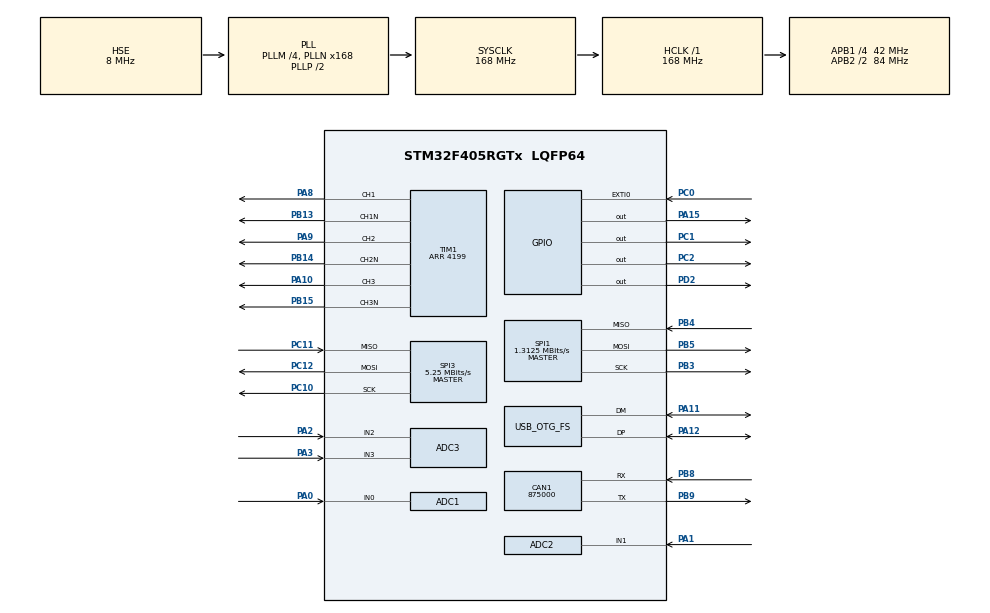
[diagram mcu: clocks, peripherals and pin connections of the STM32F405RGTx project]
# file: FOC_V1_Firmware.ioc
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ADC1.Channel-0\#ChannelRegularConversion=ADC_CHANNEL_0
ADC1.Channel-1\#ChannelInjectedConversion=ADC_CHANNEL_0
ADC1.ExternalTrigInjecConv=ADC_EXTERNALTRIGINJECCONV_T1_TRGO
ADC1.InjNumberOfConversion=1
ADC1.InjectedOffset-1\#ChannelInjectedConversion=0
ADC1.InjectedRank-1\#ChannelInjectedConversion=1
ADC1.NbrOfConversionFlag=1
ADC1.Rank-0\#ChannelRegularConversion=1
ADC1.SamplingTime-0\#ChannelRegularConversion=ADC_SAMPLETIME_3CYCLES
ADC1.SamplingTime-1\#ChannelInjectedConversion=ADC_SAMPLETIME_15CYCLES
ADC1.ScanConvMode=ENABLE
ADC1.master=1
ADC2.Channel-0\#ChannelRegularConversion=ADC_CHANNEL_1
ADC2.Channel-1\#ChannelInjectedConversion=ADC_CHANNEL_1
ADC2.ExternalTrigInjecConv=ADC_EXTERNALTRIGINJECCONV_T1_TRGO
ADC2.InjNumberOfConversion=1
ADC2.InjectedOffset-1\#ChannelInjectedConversion=0
ADC2.InjectedRank-1\#ChannelInjectedConversion=1
ADC2.NbrOfConversionFlag=1
ADC2.Rank-0\#ChannelRegularConversion=1
ADC2.SamplingTime-0\#ChannelRegularConversion=ADC_SAMPLETIME_3CYCLES
ADC2.SamplingTime-1\#ChannelInjectedConversion=ADC_SAMPLETIME_15CYCLES
ADC2.ScanConvMode=ENABLE
ADC3.Channel-0\#ChannelRegularConversion=ADC_CHANNEL_2
ADC3.Channel-1\#ChannelRegularConversion=ADC_CHANNEL_3
ADC3.ContinuousConvMode=ENABLE
ADC3.NbrOfConversion=2
ADC3.NbrOfConversionFlag=1
ADC3.Rank-0\#ChannelRegularConversion=1
ADC3.Rank-1\#ChannelRegularConversion=2
ADC3.SamplingTime-0\#ChannelRegularConversion=ADC_SAMPLETIME_84CYCLES
ADC3.SamplingTime-1\#ChannelRegularConversion=ADC_SAMPLETIME_84CYCLES
ADC3.ScanConvMode=ENABLE
CAN1.CalculateBaudRate=875000
CAN1.CalculateTimeBit=1142
CAN1.CalculateTimeQuantum=380.95238095238096
Dma.Request0=SPI3_RX
Dma.Request1=SPI3_TX
Dma.SPI3_RX.0.Direction=DMA_PERIPH_TO_MEMORY
Dma.SPI3_RX.0.FIFOMode=DMA_FIFOMODE_DISABLE
Dma.SPI3_RX.0.Instance=DMA1_Stream0
Dma.SPI3_RX.0.MemDataAlignment=DMA_MDATAALIGN_HALFWORD
Dma.SPI3_RX.0.MemInc=DMA_MINC_ENABLE
Dma.SPI3_RX.0.Mode=DMA_NORMAL
Dma.SPI3_RX.0.PeriphDataAlignment=DMA_PDATAALIGN_HALFWORD
Dma.SPI3_RX.0.PeriphInc=DMA_PINC_DISABLE
Dma.SPI3_RX.0.Priority=DMA_PRIORITY_LOW
Dma.SPI3_TX.1.Direction=DMA_MEMORY_TO_PERIPH
Dma.SPI3_TX.1.FIFOMode=DMA_FIFOMODE_DISABLE
Dma.SPI3_TX.1.Instance=DMA1_Stream5
Dma.SPI3_TX.1.MemDataAlignment=DMA_MDATAALIGN_HALFWORD
Dma.SPI3_TX.1.MemInc=DMA_MINC_ENABLE
Dma.SPI3_TX.1.Mode=DMA_NORMAL
Dma.SPI3_TX.1.PeriphDataAlignment=DMA_PDATAALIGN_HALFWORD
Dma.SPI3_TX.1.PeriphInc=DMA_PINC_DISABLE
Dma.SPI3_TX.1.Priority=DMA_PRIORITY_LOW
FREERTOS.Tasks01=StateTask,24,128,StartStateTask,Default,NULL,Dynamic,NULL,NULL;TelemetryTask,24,512,StartTelemetryTask,Default,NULL,Dynamic,NULL,NULL
FREERTOS.configUSE_NEWLIB_REENTRANT=1
Mcu.Family=STM32F4
Mcu.Name=STM32F405RGTx
Mcu.Package=LQFP64
NVIC.ADC_IRQn=true\:0\:0\:true\:false\:true\:false\:true\:true\:true
NVIC.DMA1_Stream0_IRQn=true\:5\:0\:false\:false\:true\:true\:false\:true\:true
NVIC.DMA1_Stream5_IRQn=true\:5\:0\:false\:false\:true\:true\:false\:true\:true
NVIC.EXTI0_IRQn=true\:1\:0\:true\:false\:true\:false\:true\:true\:true
NVIC.OTG_FS_IRQn=true\:5\:0\:false\:false\:true\:true\:false\:true\:true
NVIC.PriorityGroup=NVIC_PRIORITYGROUP_4
NVIC.TIM6_DAC_IRQn=true\:15\:0\:false\:false\:true\:false\:false\:true\:true
NVIC.TimeBase=TIM6_DAC_IRQn
NVIC.TimeBaseIP=TIM6
PA0-WKUP.Signal=ADCx_IN0
PA1.Signal=ADCx_IN1
PA10.Signal=S_TIM1_CH3
PA11.Mode=Device_Only
PA11.Signal=USB_OTG_FS_DM
PA12.Mode=Device_Only
PA12.Signal=USB_OTG_FS_DP
PA15.PinState=GPIO_PIN_SET
PA15.Signal=GPIO_Output
PA2.Signal=ADCx_IN2
PA3.Signal=ADCx_IN3
PA8.Signal=S_TIM1_CH1
PA9.Signal=S_TIM1_CH2
PB13.Mode=PWM Generation1 CH1 CH1N
PB13.Signal=TIM1_CH1N
PB14.Mode=PWM Generation2 CH2 CH2N
PB14.Signal=TIM1_CH2N
PB15.Mode=PWM Generation3 CH3 CH3N
PB15.Signal=TIM1_CH3N
PB3.Mode=Full_Duplex_Master
PB3.Signal=SPI1_SCK
PB4.Mode=Full_Duplex_Master
PB4.Signal=SPI1_MISO
PB5.Mode=Full_Duplex_Master
PB5.Signal=SPI1_MOSI
PB8.Mode=CAN_Activate
PB8.Signal=CAN1_RX
PB9.Mode=CAN_Activate
PB9.Signal=CAN1_TX
PC0.GPIO_ModeDefaultEXTI=GPIO_MODE_IT_FALLING
PC0.GPIO_PuPd=GPIO_PULLUP
PC0.Signal=GPXTI0
PC1.Signal=GPIO_Output
PC10.Mode=Full_Duplex_Master
PC10.Signal=SPI3_SCK
PC11.Mode=Full_Duplex_Master
PC11.Signal=SPI3_MISO
PC12.Mode=Full_Duplex_Master
PC12.Signal=SPI3_MOSI
PC2.Signal=GPIO_Output
PD2.PinState=GPIO_PIN_SET
PD2.Signal=GPIO_Output
PH0-OSC_IN.Mode=HSE-External-Oscillator
PH0-OSC_IN.Signal=RCC_OSC_IN
PH1-OSC_OUT.Mode=HSE-External-Oscillator
PH1-OSC_OUT.Signal=RCC_OSC_OUT
ProjectManager.HeapSize=0x200
ProjectManager.StackSize=0x400
ProjectManager.TargetToolchain=STM32CubeIDE
RCC.48MHZClocksFreq_Value=48000000
RCC.AHBFreq_Value=168000000
RCC.APB1CLKDivider=RCC_HCLK_DIV4
RCC.APB1Freq_Value=42000000
RCC.APB1TimFreq_Value=84000000
RCC.APB2CLKDivider=RCC_HCLK_DIV2
RCC.APB2Freq_Value=84000000
RCC.APB2TimFreq_Value=168000000
RCC.CortexFreq_Value=168000000
RCC.HCLKFreq_Value=168000000
RCC.HSE_VALUE=8000000
RCC.HSI_VALUE=16000000
RCC.LSE_VALUE=32768
RCC.PLLM=4
RCC.PLLN=168
RCC.PLLQ=7
RCC.SYSCLKFreq_VALUE=168000000
RCC.SYSCLKSource=RCC_SYSCLKSOURCE_PLLCLK
RCC.VCOOutputFreq_Value=336000000
SH.ADCx_IN0.0=ADC1_IN0,IN0
SH.ADCx_IN1.0=ADC2_IN1,IN1
SH.ADCx_IN2.0=ADC3_IN2,IN2
SH.ADCx_IN3.0=ADC3_IN3,IN3
SH.S_TIM1_CH1.0=TIM1_CH1,PWM Generation1 CH1 CH1N
SH.S_TIM1_CH2.0=TIM1_CH2,PWM Generation2 CH2 CH2N
SH.S_TIM1_CH3.0=TIM1_CH3,PWM Generation3 CH3 CH3N
SPI1.BaudRatePrescaler=SPI_BAUDRATEPRESCALER_64
SPI1.CLKPhase=SPI_PHASE_2EDGE
SPI1.CalculateBaudRate=1.3125 MBits/s
SPI1.DataSize=SPI_DATASIZE_16BIT
SPI1.Direction=SPI_DIRECTION_2LINES
SPI1.Mode=SPI_MODE_MASTER
SPI1.VirtualType=VM_MASTER
SPI3.BaudRatePrescaler=SPI_BAUDRATEPRESCALER_8
SPI3.CLKPhase=SPI_PHASE_2EDGE
SPI3.CalculateBaudRate=5.25 MBits/s
SPI3.DataSize=SPI_DATASIZE_16BIT
SPI3.Direction=SPI_DIRECTION_2LINES
SPI3.FirstBit=SPI_FIRSTBIT_MSB
SPI3.Mode=SPI_MODE_MASTER
SPI3.VirtualType=VM_MASTER
TIM1.Channel-PWM\ Generation1\ CH1\ CH1N=TIM_CHANNEL_1
TIM1.Channel-PWM\ Generation2\ CH2\ CH2N=TIM_CHANNEL_2
TIM1.Channel-PWM\ Generation3\ CH3\ CH3N=TIM_CHANNEL_3
TIM1.CounterMode=TIM_COUNTERMODE_CENTERALIGNED1
TIM1.DeadTime=40
TIM1.Period=4199
TIM1.RepetitionCounter=1
TIM1.TIM_MasterOutputTrigger=TIM_TRGO_UPDATE
TIM1.TIM_MasterSlaveMode=TIM_MASTERSLAVEMODE_ENABLE
USB_DEVICE.CLASS_NAME_FS=CDC
USB_DEVICE.VirtualMode-CDC_FS=Cdc
USB_DEVICE.VirtualModeFS=Cdc_FS
USB_OTG_FS.VirtualMode=Device_Only
VP_FREERTOS_VS_CMSIS_V2.Mode=CMSIS_V2
VP_SYS_VS_tim6.Mode=TIM6
VP_TIM1_VS_ClockSourceINT.Mode=Internal
VP_USB_DEVICE_VS_USB_DEVICE_CDC_FS.Mode=CDC_FS
board=custom

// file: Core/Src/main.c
/* USER CODE BEGIN Header */
/**
  ******************************************************************************
  * @file           : main.c
  * @brief          : Main program body
  ******************************************************************************
  */
/* USER CODE END Header */
#include "main.h"
#include "cmsis_os.h"
#include "usb_device.h"

/* USER CODE BEGIN Includes */
#include "usbd_cdc_if.h"
#include <stdio.h>
#include <math.h>
/* USER CODE END Includes */

ADC_HandleTypeDef hadc1;
ADC_HandleTypeDef hadc2;
ADC_HandleTypeDef hadc3;

CAN_HandleTypeDef hcan1;

SPI_HandleTypeDef hspi1;
SPI_HandleTypeDef hspi3;
DMA_HandleTypeDef hdma_spi3_rx;
DMA_HandleTypeDef hdma_spi3_tx;

TIM_HandleTypeDef htim1;

/* Definitions for StateTask */
osThreadId_t StateTaskHandle;
const osThreadAttr_t StateTask_attributes = {
  .name = "StateTask",
  .stack_size = 128 * 4,
  .priority = (osPriority_t) osPriorityHigh,
};
/* Definitions for TelemetryTask */
osThreadId_t TelemetryTaskHandle;
const osThreadAttr_t TelemetryTask_attributes = {
  .name = "TelemetryTask",
  .stack_size = 512 * 4,
  .priority = (osPriority_t) osPriorityNormal,
};

/* USER CODE BEGIN PV */
uint16_t as5048a_tx_buffer = 0xFFFF;
uint16_t as5048a_rx_buffer = 0x0000;
volatile uint8_t start_motor = 0;
// ADC
volatile uint16_t raw_adc_a, raw_adc_c;
volatile float offset_a = 2048.0f;
volatile float offset_c = 2048.0f;
// Global FOC variables for telemetry
volatile float global_theta_elec = 0.0f;
volatile float i_a, i_b, i_c;
volatile float i_d, i_q;
volatile float v_d, v_q;
// Current PI Controller states
volatile float integral_d = 0.0f;
volatile float integral_q = 0.0f;
volatile float target_id = 0.0f;
volatile float target_iq = 0.0f;
// Velocity PI Controller states
volatile float current_vel_rads = 0.0f;
volatile float target_vel_rads = 10.0f; // target 10 rad/s (~95rpm) for testing
volatile float prev_theta_mech = 0.0f;
volatile float vel_integral = 0.0f;
// Timing constant (168MHz clock and 4199 timer period -> 168Mhz/(2*4200) = 20kHz PWM)
const float DT = 0.00005f;
// Motor constants
const float POLE_PAIRS = 20.0f; // Eaglepower 90kv motor
const float PI_CONST = 3.14159265359f;
volatile float mech_offset = 0.0f; // set it to zero-angle calibration
/* USER CODE END PV */

void SystemClock_Config(void);
static void MX_GPIO_Init(void);
static void MX_DMA_Init(void);
static void MX_ADC1_Init(void);
static void MX_ADC2_Init(void);
static void MX_ADC3_Init(void);
static void MX_TIM1_Init(void);
static void MX_SPI1_Init(void);
static void MX_SPI3_Init(void);
static void MX_CAN1_Init(void);
void StartStateTask(void *argument);
void StartTelemetryTask(void *argument);

/* USER CODE BEGIN 0 */

// Wrap angle helper function
static inline float wrap_angle(float angle) {
	while (angle > PI_CONST) {
		angle -= (2.0f * PI_CONST);
	}
	while (angle < -PI_CONST) {
		angle += (2.0f * PI_CONST);
	}
	return angle;
}

// fast sin & cos function
static inline float fast_sin(float x) {
	x = wrap_angle(x);
	float sin_x;
	if (x < 0.0f) {
		sin_x = 1.27323954f * x + 0.405284735f * x * x;
		if (sin_x < 0.0f) {
			sin_x = 0.225f * (sin_x * -sin_x - sin_x) + sin_x;
		} else {
			sin_x = 0.225f * (sin_x * sin_x - sin_x) + sin_x;
		}
	} else {
		sin_x = 1.27323954f * x - 0.405284735f * x * x;
		if (sin_x < 0.0f) {
			sin_x = 0.225f * (sin_x * -sin_x - sin_x) + sin_x;
		} else {
			sin_x = 0.225f * (sin_x * sin_x - sin_x) + sin_x;
		}
	}
	return sin_x;
}
static inline float fast_cos(float x) {
	return fast_sin(x + 1.570796327f); // sin(x + pi/2)
}

// Fast Inverse Square Root for clamping v_d & v_q (calculates 1/sqrt(x))
static inline float fast_inv_sqrt(float number) {
  union {
    float f;
    uint32_t i;
  } conv;

  float x2;
  const float threehalfs = 1.5F;

  x2 = number * 0.5F;
  conv.f = number;
  conv.i = 0x5f3759df - (conv.i >> 1);
  conv.f = conv.f * (threehalfs - (x2 * conv.f * conv.f));
  return conv.f;
}
/* USER CODE END 0 */

int main(void)
{
  /* MCU Configuration--------------------------------------------------------*/
  HAL_Init();
  SystemClock_Config();

  /* Initialize all configured peripherals */
  MX_GPIO_Init();
  MX_DMA_Init();
  MX_ADC1_Init();
  MX_ADC2_Init();
  MX_ADC3_Init();
  MX_TIM1_Init();
  MX_SPI1_Init();
  MX_SPI3_Init();
  MX_CAN1_Init();

  /* Init scheduler */
  osKernelInitialize();

  /* Create the thread(s) */
  StateTaskHandle = osThreadNew(StartStateTask, NULL, &StateTask_attributes);
  TelemetryTaskHandle = osThreadNew(StartTelemetryTask, NULL, &TelemetryTask_attributes);

  /* Start scheduler */
  osKernelStart();

  /* Infinite loop */
  while (1)
  {
  }
}

void SystemClock_Config(void)
{
  RCC_OscInitTypeDef RCC_OscInitStruct = {0};
  RCC_ClkInitTypeDef RCC_ClkInitStruct = {0};

  __HAL_RCC_PWR_CLK_ENABLE();
  __HAL_PWR_VOLTAGESCALING_CONFIG(PWR_REGULATOR_VOLTAGE_SCALE1);

  RCC_OscInitStruct.OscillatorType = RCC_OSCILLATORTYPE_HSE;
  RCC_OscInitStruct.HSEState = RCC_HSE_ON;
  RCC_OscInitStruct.PLL.PLLState = RCC_PLL_ON;
  RCC_OscInitStruct.PLL.PLLSource = RCC_PLLSOURCE_HSE;
  RCC_OscInitStruct.PLL.PLLM = 4;
  RCC_OscInitStruct.PLL.PLLN = 168;
  RCC_OscInitStruct.PLL.PLLP = RCC_PLLP_DIV2;
  RCC_OscInitStruct.PLL.PLLQ = 7;
  if (HAL_RCC_OscConfig(&RCC_OscInitStruct) != HAL_OK)
  {
    Error_Handler();
  }

  RCC_ClkInitStruct.ClockType = RCC_CLOCKTYPE_HCLK|RCC_CLOCKTYPE_SYSCLK
                              |RCC_CLOCKTYPE_PCLK1|RCC_CLOCKTYPE_PCLK2;
  RCC_ClkInitStruct.SYSCLKSource = RCC_SYSCLKSOURCE_PLLCLK;
  RCC_ClkInitStruct.AHBCLKDivider = RCC_SYSCLK_DIV1;
  RCC_ClkInitStruct.APB1CLKDivider = RCC_HCLK_DIV4;
  RCC_ClkInitStruct.APB2CLKDivider = RCC_HCLK_DIV2;

  if (HAL_RCC_ClockConfig(&RCC_ClkInitStruct, FLASH_LATENCY_5) != HAL_OK)
  {
    Error_Handler();
  }
}

static void MX_ADC1_Init(void)
{
  ADC_ChannelConfTypeDef sConfig = {0};
  ADC_InjectionConfTypeDef sConfigInjected = {0};

  hadc1.Instance = ADC1;
  hadc1.Init.ClockPrescaler = ADC_CLOCK_SYNC_PCLK_DIV4;
  hadc1.Init.Resolution = ADC_RESOLUTION_12B;
  hadc1.Init.ScanConvMode = ENABLE;
  hadc1.Init.ContinuousConvMode = DISABLE;
  hadc1.Init.DiscontinuousConvMode = DISABLE;
  hadc1.Init.ExternalTrigConvEdge = ADC_EXTERNALTRIGCONVEDGE_NONE;
  hadc1.Init.ExternalTrigConv = ADC_SOFTWARE_START;
  hadc1.Init.DataAlign = ADC_DATAALIGN_RIGHT;
  hadc1.Init.NbrOfConversion = 1;
  hadc1.Init.DMAContinuousRequests = DISABLE;
  hadc1.Init.EOCSelection = ADC_EOC_SINGLE_CONV;
  if (HAL_ADC_Init(&hadc1) != HAL_OK)
  {
    Error_Handler();
  }

  sConfig.Channel = ADC_CHANNEL_0;
  sConfig.Rank = 1;
  sConfig.SamplingTime = ADC_SAMPLETIME_3CYCLES;
  if (HAL_ADC_ConfigChannel(&hadc1, &sConfig) != HAL_OK)
  {
    Error_Handler();
  }

  sConfigInjected.InjectedChannel = ADC_CHANNEL_0;
  sConfigInjected.InjectedRank = 1;
  sConfigInjected.InjectedNbrOfConversion = 1;
  sConfigInjected.InjectedSamplingTime = ADC_SAMPLETIME_15CYCLES;
  sConfigInjected.ExternalTrigInjecConvEdge = ADC_EXTERNALTRIGINJECCONVEDGE_RISING;
  sConfigInjected.ExternalTrigInjecConv = ADC_EXTERNALTRIGINJECCONV_T1_TRGO;
  sConfigInjected.AutoInjectedConv = DISABLE;
  sConfigInjected.InjectedDiscontinuousConvMode = DISABLE;
  sConfigInjected.InjectedOffset = 0;
  if (HAL_ADCEx_InjectedConfigChannel(&hadc1, &sConfigInjected) != HAL_OK)
  {
    Error_Handler();
  }
}

static void MX_ADC2_Init(void)
{
  ADC_ChannelConfTypeDef sConfig = {0};
  ADC_InjectionConfTypeDef sConfigInjected = {0};

  hadc2.Instance = ADC2;
  hadc2.Init.ClockPrescaler = ADC_CLOCK_SYNC_PCLK_DIV4;
  hadc2.Init.Resolution = ADC_RESOLUTION_12B;
  hadc2.Init.ScanConvMode = ENABLE;
  hadc2.Init.ContinuousConvMode = DISABLE;
  hadc2.Init.DiscontinuousConvMode = DISABLE;
  hadc2.Init.ExternalTrigConvEdge = ADC_EXTERNALTRIGCONVEDGE_NONE;
  hadc2.Init.ExternalTrigConv = ADC_SOFTWARE_START;
  hadc2.Init.DataAlign = ADC_DATAALIGN_RIGHT;
  hadc2.Init.NbrOfConversion = 1;
  hadc2.Init.DMAContinuousRequests = DISABLE;
  hadc2.Init.EOCSelection = ADC_EOC_SINGLE_CONV;
  if (HAL_ADC_Init(&hadc2) != HAL_OK)
  {
    Error_Handler();
  }

  sConfig.Channel = ADC_CHANNEL_1;
  sConfig.Rank = 1;
  sConfig.SamplingTime = ADC_SAMPLETIME_3CYCLES;
  if (HAL_ADC_ConfigChannel(&hadc2, &sConfig) != HAL_OK)
  {
    Error_Handler();
  }

  sConfigInjected.InjectedChannel = ADC_CHANNEL_1;
  sConfigInjected.InjectedRank = 1;
  sConfigInjected.InjectedNbrOfConversion = 1;
  sConfigInjected.InjectedSamplingTime = ADC_SAMPLETIME_15CYCLES;
  sConfigInjected.ExternalTrigInjecConvEdge = ADC_EXTERNALTRIGINJECCONVEDGE_RISING;
  sConfigInjected.ExternalTrigInjecConv = ADC_EXTERNALTRIGINJECCONV_T1_TRGO;
  sConfigInjected.AutoInjectedConv = DISABLE;
  sConfigInjected.InjectedDiscontinuousConvMode = DISABLE;
  sConfigInjected.InjectedOffset = 0;
  if (HAL_ADCEx_InjectedConfigChannel(&hadc2, &sConfigInjected) != HAL_OK)
  {
    Error_Handler();
  }
}

static void MX_ADC3_Init(void)
{
  ADC_ChannelConfTypeDef sConfig = {0};

  hadc3.Instance = ADC3;
  hadc3.Init.ClockPrescaler = ADC_CLOCK_SYNC_PCLK_DIV4;
  hadc3.Init.Resolution = ADC_RESOLUTION_12B;
  hadc3.Init.ScanConvMode = ENABLE;
  hadc3.Init.ContinuousConvMode = ENABLE;
  hadc3.Init.DiscontinuousConvMode = DISABLE;
  hadc3.Init.ExternalTrigConvEdge = ADC_EXTERNALTRIGCONVEDGE_NONE;
  hadc3.Init.ExternalTrigConv = ADC_SOFTWARE_START;
  hadc3.Init.DataAlign = ADC_DATAALIGN_RIGHT;
  hadc3.Init.NbrOfConversion = 2;
  hadc3.Init.DMAContinuousRequests = DISABLE;
  hadc3.Init.EOCSelection = ADC_EOC_SINGLE_CONV;
  if (HAL_ADC_Init(&hadc3) != HAL_OK)
  {
    Error_Handler();
  }

  sConfig.Channel = ADC_CHANNEL_2;
  sConfig.Rank = 1;
  sConfig.SamplingTime = ADC_SAMPLETIME_84CYCLES;
  if (HAL_ADC_ConfigChannel(&hadc3, &sConfig) != HAL_OK)
  {
    Error_Handler();
  }

  sConfig.Channel = ADC_CHANNEL_3;
  sConfig.Rank = 2;
  if (HAL_ADC_ConfigChannel(&hadc3, &sConfig) != HAL_OK)
  {
    Error_Handler();
  }
}

static void MX_CAN1_Init(void)
{
  hcan1.Instance = CAN1;
  hcan1.Init.Prescaler = 16;
  hcan1.Init.Mode = CAN_MODE_NORMAL;
  hcan1.Init.SyncJumpWidth = CAN_SJW_1TQ;
  hcan1.Init.TimeSeg1 = CAN_BS1_1TQ;
  hcan1.Init.TimeSeg2 = CAN_BS2_1TQ;
  hcan1.Init.TimeTriggeredMode = DISABLE;
  hcan1.Init.AutoBusOff = DISABLE;
  hcan1.Init.AutoWakeUp = DISABLE;
  hcan1.Init.AutoRetransmission = DISABLE;
  hcan1.Init.ReceiveFifoLocked = DISABLE;
  hcan1.Init.TransmitFifoPriority = DISABLE;
  if (HAL_CAN_Init(&hcan1) != HAL_OK)
  {
    Error_Handler();
  }
}

static void MX_SPI1_Init(void)
{
  hspi1.Instance = SPI1;
  hspi1.Init.Mode = SPI_MODE_MASTER;
  hspi1.Init.Direction = SPI_DIRECTION_2LINES;
  hspi1.Init.DataSize = SPI_DATASIZE_16BIT;
  hspi1.Init.CLKPolarity = SPI_POLARITY_LOW;
  hspi1.Init.CLKPhase = SPI_PHASE_2EDGE;
  hspi1.Init.NSS = SPI_NSS_SOFT;
  hspi1.Init.BaudRatePrescaler = SPI_BAUDRATEPRESCALER_64;
  hspi1.Init.FirstBit = SPI_FIRSTBIT_MSB;
  hspi1.Init.TIMode = SPI_TIMODE_DISABLE;
  hspi1.Init.CRCCalculation = SPI_CRCCALCULATION_DISABLE;
  hspi1.Init.CRCPolynomial = 10;
  if (HAL_SPI_Init(&hspi1) != HAL_OK)
  {
    Error_Handler();
  }
}

static void MX_SPI3_Init(void)
{
  hspi3.Instance = SPI3;
  hspi3.Init.Mode = SPI_MODE_MASTER;
  hspi3.Init.Direction = SPI_DIRECTION_2LINES;
  hspi3.Init.DataSize = SPI_DATASIZE_16BIT;
  hspi3.Init.CLKPolarity = SPI_POLARITY_LOW;
  hspi3.Init.CLKPhase = SPI_PHASE_2EDGE;
  hspi3.Init.NSS = SPI_NSS_SOFT;
  hspi3.Init.BaudRatePrescaler = SPI_BAUDRATEPRESCALER_8;
  hspi3.Init.FirstBit = SPI_FIRSTBIT_MSB;
  hspi3.Init.TIMode = SPI_TIMODE_DISABLE;
  hspi3.Init.CRCCalculation = SPI_CRCCALCULATION_DISABLE;
  hspi3.Init.CRCPolynomial = 10;
  if (HAL_SPI_Init(&hspi3) != HAL_OK)
  {
    Error_Handler();
  }
}

static void MX_TIM1_Init(void)
{
  TIM_ClockConfigTypeDef sClockSourceConfig = {0};
  TIM_MasterConfigTypeDef sMasterConfig = {0};
  TIM_OC_InitTypeDef sConfigOC = {0};
  TIM_BreakDeadTimeConfigTypeDef sBreakDeadTimeConfig = {0};

  htim1.Instance = TIM1;
  htim1.Init.Prescaler = 0;
  htim1.Init.CounterMode = TIM_COUNTERMODE_CENTERALIGNED1;
  htim1.Init.Period = 4199;
  htim1.Init.ClockDivision = TIM_CLOCKDIVISION_DIV1;
  htim1.Init.RepetitionCounter = 1;
  htim1.Init.AutoReloadPreload = TIM_AUTORELOAD_PRELOAD_DISABLE;
  if (HAL_TIM_Base_Init(&htim1) != HAL_OK)
  {
    Error_Handler();
  }
  sClockSourceConfig.ClockSource = TIM_CLOCKSOURCE_INTERNAL;
  if (HAL_TIM_ConfigClockSource(&htim1, &sClockSourceConfig) != HAL_OK)
  {
    Error_Handler();
  }
  if (HAL_TIM_PWM_Init(&htim1) != HAL_OK)
  {
    Error_Handler();
  }
  sMasterConfig.MasterOutputTrigger = TIM_TRGO_UPDATE;
  sMasterConfig.MasterSlaveMode = TIM_MASTERSLAVEMODE_ENABLE;
  if (HAL_TIMEx_MasterConfigSynchronization(&htim1, &sMasterConfig) != HAL_OK)
  {
    Error_Handler();
  }
  sConfigOC.OCMode = TIM_OCMODE_PWM1;
  sConfigOC.Pulse = 0;
  sConfigOC.OCPolarity = TIM_OCPOLARITY_HIGH;
  sConfigOC.OCNPolarity = TIM_OCNPOLARITY_HIGH;
  sConfigOC.OCFastMode = TIM_OCFAST_DISABLE;
  sConfigOC.OCIdleState = TIM_OCIDLESTATE_RESET;
  sConfigOC.OCNIdleState = TIM_OCNIDLESTATE_RESET;
  if (HAL_TIM_PWM_ConfigChannel(&htim1, &sConfigOC, TIM_CHANNEL_1) != HAL_OK)
  {
    Error_Handler();
  }
  if (HAL_TIM_PWM_ConfigChannel(&htim1, &sConfigOC, TIM_CHANNEL_2) != HAL_OK)
  {
    Error_Handler();
  }
  if (HAL_TIM_PWM_ConfigChannel(&htim1, &sConfigOC, TIM_CHANNEL_3) != HAL_OK)
  {
    Error_Handler();
  }
  sBreakDeadTimeConfig.OffStateRunMode = TIM_OSSR_DISABLE;
  sBreakDeadTimeConfig.OffStateIDLEMode = TIM_OSSI_DISABLE;
  sBreakDeadTimeConfig.LockLevel = TIM_LOCKLEVEL_OFF;
  sBreakDeadTimeConfig.DeadTime = 40;
  sBreakDeadTimeConfig.BreakState = TIM_BREAK_DISABLE;
  sBreakDeadTimeConfig.BreakPolarity = TIM_BREAKPOLARITY_HIGH;
  sBreakDeadTimeConfig.AutomaticOutput = TIM_AUTOMATICOUTPUT_DISABLE;
  if (HAL_TIMEx_ConfigBreakDeadTime(&htim1, &sBreakDeadTimeConfig) != HAL_OK)
  {
    Error_Handler();
  }
  HAL_TIM_MspPostInit(&htim1);
}

static void MX_DMA_Init(void)
{
  __HAL_RCC_DMA1_CLK_ENABLE();
  HAL_NVIC_SetPriority(DMA1_Stream0_IRQn, 5, 0);
  HAL_NVIC_EnableIRQ(DMA1_Stream0_IRQn);
  HAL_NVIC_SetPriority(DMA1_Stream5_IRQn, 5, 0);
  HAL_NVIC_EnableIRQ(DMA1_Stream5_IRQn);
}

static void MX_GPIO_Init(void)
{
  GPIO_InitTypeDef GPIO_InitStruct = {0};

  __HAL_RCC_GPIOH_CLK_ENABLE();
  __HAL_RCC_GPIOC_CLK_ENABLE();
  __HAL_RCC_GPIOA_CLK_ENABLE();
  __HAL_RCC_GPIOB_CLK_ENABLE();
  __HAL_RCC_GPIOD_CLK_ENABLE();

  HAL_GPIO_WritePin(GPIOC, GPIO_PIN_1|GPIO_PIN_2, GPIO_PIN_RESET);
  HAL_GPIO_WritePin(GPIOA, GPIO_PIN_15, GPIO_PIN_SET);
  HAL_GPIO_WritePin(GPIOD, GPIO_PIN_2, GPIO_PIN_SET);

  GPIO_InitStruct.Pin = GPIO_PIN_0;
  GPIO_InitStruct.Mode = GPIO_MODE_IT_FALLING;
  GPIO_InitStruct.Pull = GPIO_PULLUP;
  HAL_GPIO_Init(GPIOC, &GPIO_InitStruct);

  GPIO_InitStruct.Pin = GPIO_PIN_1|GPIO_PIN_2;
  GPIO_InitStruct.Mode = GPIO_MODE_OUTPUT_PP;
  GPIO_InitStruct.Pull = GPIO_NOPULL;
  GPIO_InitStruct.Speed = GPIO_SPEED_FREQ_LOW;
  HAL_GPIO_Init(GPIOC, &GPIO_InitStruct);

  GPIO_InitStruct.Pin = GPIO_PIN_15;
  GPIO_InitStruct.Mode = GPIO_MODE_OUTPUT_PP;
  GPIO_InitStruct.Pull = GPIO_NOPULL;
  GPIO_InitStruct.Speed = GPIO_SPEED_FREQ_LOW;
  HAL_GPIO_Init(GPIOA, &GPIO_InitStruct);

  GPIO_InitStruct.Pin = GPIO_PIN_2;
  GPIO_InitStruct.Mode = GPIO_MODE_OUTPUT_PP;
  GPIO_InitStruct.Pull = GPIO_NOPULL;
  GPIO_InitStruct.Speed = GPIO_SPEED_FREQ_LOW;
  HAL_GPIO_Init(GPIOD, &GPIO_InitStruct);

  HAL_NVIC_SetPriority(EXTI0_IRQn, 1, 0);
  HAL_NVIC_EnableIRQ(EXTI0_IRQn);
}

/* USER CODE BEGIN 4 */
// Helper function for reading DRV8301 register
uint16_t DRV8301_ReadReg(uint8_t addr) {
	uint16_t tx_data;
	uint16_t rx_data = 0;

	tx_data = (1 << 15) | ((addr & 0x0F) << 11);

	HAL_GPIO_WritePin(GPIOD, GPIO_PIN_2, GPIO_PIN_RESET);
	HAL_SPI_TransmitReceive(&hspi1, (uint8_t*)&tx_data, (uint8_t*)&rx_data, 1, 100);
	HAL_GPIO_WritePin(GPIOD, GPIO_PIN_2, GPIO_PIN_SET);

	for(volatile int i=0; i<50; i++);

	tx_data = 0x0000;
	HAL_GPIO_WritePin(GPIOD, GPIO_PIN_2, GPIO_PIN_RESET);
	HAL_SPI_TransmitReceive(&hspi1, (uint8_t*)&tx_data, (uint8_t*)&rx_data, 1, 100);
	HAL_GPIO_WritePin(GPIOD, GPIO_PIN_2, GPIO_PIN_SET);

	return (rx_data & 0x07FF);
}

// Helper function for writing DRV8301 register
void DRV8301_WriteReg(uint8_t addr, uint16_t data) {
	uint16_t tx_data;
	uint16_t rx_data;

	tx_data = (0 << 15) | ((addr & 0xF) << 11) | (data & 0x07FF);

	HAL_GPIO_WritePin(GPIOD, GPIO_PIN_2, GPIO_PIN_RESET);
	HAL_SPI_TransmitReceive(&hspi1, (uint8_t*)&tx_data, (uint8_t*)&rx_data, 1, 100);
	HAL_GPIO_WritePin(GPIOD, GPIO_PIN_2, GPIO_PIN_SET);

	for(volatile int i = 0; i < 50; i++);
}

// SPI DMA Completion Callback
void HAL_SPI_TxRxCpltCallback(SPI_HandleTypeDef *hspi) {
	if (hspi->Instance == SPI3) {
		HAL_GPIO_WritePin(GPIOA, GPIO_PIN_15, GPIO_PIN_SET);
	}
}

// Hardware ADC Interrupt Callback
void HAL_ADCEx_InjectedConvCpltCallback(ADC_HandleTypeDef *hadc) {
	if (hadc->Instance == ADC1) {
		// Read the raw injected ADC values (0 to 4095)
		raw_adc_a = HAL_ADCEx_InjectedGetValue(&hadc1, ADC_INJECTED_RANK_1);
		raw_adc_c = HAL_ADCEx_InjectedGetValue(&hadc2, ADC_INJECTED_RANK_1);

		if (start_motor == 0) {
			// motor off: reset integral and set 50% duty cycle
			integral_d = 0.0f;
			integral_q = 0.0f;
      vel_integral = 0.0f;
			TIM1->CCR1 = 2099;
			TIM1->CCR2 = 2099;
      TIM1->CCR3 = 2099;

			// trigger next SPI DMA for encoder so its ready when we start
			HAL_GPIO_WritePin(GPIOA, GPIO_PIN_15, GPIO_PIN_RESET);
			HAL_SPI_TransmitReceive_DMA(&hspi3, (uint8_t*)&as5048a_tx_buffer, (uint8_t*)&as5048a_rx_buffer, 1);
			return;
		}

		// convert raw ticks to amps
		// assume 2048 ticks is exactly 0 Amps, gain = 20, and R_shunt = 0.001
	    // multiplier = 3.3V / (4095 * gain * R_shunt) = 3.3 / (4095 * 20 * 0.001) = 0.040293f
		i_a = ((float)raw_adc_a - offset_a) * 0.040293f;
		i_c = ((float)raw_adc_c - offset_c) * 0.040293f;
		// kirchoff's law: i_a + i_b + i_c = 0
		i_b = -(i_a + i_c);

		// Get electrical angle from last SPI DMA transfer
		uint16_t raw_angle = 16383 - (as5048a_rx_buffer & 0x3FFF);
		float theta_mech = ((float)raw_angle / 16384.0f) * (2.0f * PI_CONST);
		float theta_elec = (theta_mech - mech_offset) * POLE_PAIRS;
		// wrap angle 0 to 2PI
		while (theta_elec > 2.0f * PI_CONST) {
			theta_elec -= 2.0f * PI_CONST;
		}
		while (theta_elec < 0.0f) {
			theta_elec += 2.0f * PI_CONST;
		}
		global_theta_elec = theta_elec;

		float c = fast_cos(theta_elec);
		float s = fast_sin(theta_elec);

    // Velocity calculation with low pass filter
    float delta_theta = wrap_angle(theta_mech - prev_theta_mech);
    prev_theta_mech = theta_mech;
    float raw_vel = delta_theta/DT;
    float alpha = 0.01f; // use 0.01 for now, velocity should be relatively smooth
    current_vel_rads = (alpha * raw_vel) + ((1.0f - alpha) * current_vel_rads);

    // Velocity PI Controller (TO BE TUNED)
    float Kp_vel = 0.02f;
    float Ki_vel = 0.0005f;
    float max_iq = 1.0f; // Max current 1A for now for safety

    float err_vel = target_vel_rads - current_vel_rads;
    vel_integral += err_vel * Ki_vel;

    // Velocity Anti-windup
    if (vel_integral > max_iq) vel_integral = max_iq;
    if (vel_integral < -max_iq) vel_integral = -max_iq;

    // Velocity PI control
    target_iq = (Kp_vel * err_vel) * vel_integral;

    // Clamp target_iq for safety
    if (target_iq > max_iq) target_iq = max_iq;
    if (target_iq < -max_iq) target_iq = -max_iq;

		// Clarke Transform
		float i_alpha = i_a;
		float i_beta = (0.577350269f * i_a) + (1.154700538f * i_b);

		// Park Transform
		i_d = (i_alpha * c) + (i_beta * s);
		i_q = -(i_alpha * s) + (i_beta * c);

		// Current PI Controllers (TO BE TUNED)
		float Kp_cur = 0.05f;
		float Ki_curr = 0.001f;
		float v_max = 0.2f; // max duty cycle variance

		float err_d = target_id - i_d;
		float err_q = target_iq - i_q;

		integral_d += err_d * Ki_curr;
		integral_q += err_q * Ki_curr;

		// Current Anti-windup
		if (integral_d > v_max) integral_d = v_max;
		if (integral_d < -v_max) integral_d = -v_max;
		if (integral_q > v_max) integral_q = v_max;
		if (integral_q < -v_max) integral_q = -v_max;

		// Current PI control
		v_d = (Kp_cur * err_d) + integral_d;
		v_q = (Kp_cur * err_q) + integral_q;

    // Circular voltage limiting (clamping v_d & v_q)
    float v_mag_sq = (v_d * v_d) + (v_q * v_q);
    float v_max_sq = v_max * v_max;

    if (v_mag_sq > v_max_sq) {
      // calculate scalinng factor (v_max / sqrt(v_d^2 + v_q^2))
      float scale = v_max * fast_inv_sqrt(v_mag_sq);
      v_d *= scale;
      v_q *= scale;
    }

		// Inverse Park Transform
		float v_alpha = (v_d * c) - (v_q * s);
		float v_beta = (v_d * s) + (v_q * c);

		// Inverse Clarke Transform & SVPWM (Saddle Injection)
		float v_a = v_alpha;
		float v_b = -0.5f * v_alpha + 0.866025403f * v_beta;
		float v_c = -0.5f * v_alpha - 0.866025403f * v_beta;

		// find min and max for saddle injection
		float v_min_val = v_a;
		if (v_b < v_min_val) v_min_val = v_b;
		if (v_c < v_min_val) v_min_val = v_c;

		float v_max_val = v_a;
		if (v_b > v_max_val) v_max_val = v_b;
		if (v_c > v_max_val) v_max_val = v_c;

		float v_offset = -0.5f * (v_max_val + v_min_val);

		// calculate duty cycles (0.0 to 1.0)
		float duty_a = 0.5f + (v_a + v_offset);
		float duty_b = 0.5f + (v_b + v_offset);
		float duty_c = 0.5f + (v_c + v_offset);

		// clamp duties to 0.05 - 0.95 to allow drv8301 bootstrap capacitors to charge
		if (duty_a > 0.95f) duty_a = 0.95f;
		if (duty_a < 0.05f) duty_a = 0.05f;
		if (duty_b > 0.95f) duty_b = 0.95f;
		if (duty_b < 0.05f) duty_b = 0.05f;
		if (duty_c > 0.95f) duty_c = 0.95f;
		if (duty_c < 0.05f) duty_c = 0.05f;

		// write duty cycles to timers
		TIM1->CCR1 = (uint32_t)(duty_a * 4199.0f);
		TIM1->CCR2 = (uint32_t)(duty_b * 4199.0f);
		TIM1->CCR3 = (uint32_t)(duty_c * 4199.0f);

		// trigger next SPI DMA transfer
		HAL_GPIO_WritePin(GPIOA, GPIO_PIN_15, GPIO_PIN_RESET);
		HAL_SPI_TransmitReceive_DMA(&hspi3, (uint8_t*)&as5048a_tx_buffer, (uint8_t*)&as5048a_rx_buffer, 1);
	}
}
/* USER CODE END 4 */

/* USER CODE BEGIN Header_StartStateTask */
void StartStateTask(void *argument)
{
  MX_USB_DEVICE_Init();

  HAL_GPIO_WritePin(GPIOC, GPIO_PIN_1, GPIO_PIN_SET);
  osDelay(50);

  DRV8301_WriteReg(0x02, 0x0400);
  osDelay(10);
  DRV8301_WriteReg(0x03, 0x0004);
  osDelay(10);

  HAL_ADCEx_InjectedStart_IT(&hadc1);
  HAL_ADCEx_InjectedStart(&hadc2);
  HAL_TIM_Base_Start(&htim1);
  osDelay(10);

  // calculate ADC Offsets
  uint32_t sum_a = 0;
  uint32_t sum_c = 0;
  for (int i = 0; i < 1000; i++) {
	  sum_a += raw_adc_a;
	  sum_c += raw_adc_c;
	  osDelay(1);
  }
  offset_a = (float)sum_a / 1000.0f;
  offset_c = (float)sum_c / 1000.0f;

  // Pre-load PWM Timers to 50% duty cycle
  TIM1->CCR1 = 2099;
  TIM1->CCR2 = 2099;
  TIM1->CCR3 = 2099;

  HAL_TIM_PWM_Start(&htim1, TIM_CHANNEL_1);
  HAL_TIMEx_PWMN_Start(&htim1, TIM_CHANNEL_1);
  HAL_TIM_PWM_Start(&htim1, TIM_CHANNEL_2);
  HAL_TIMEx_PWMN_Start(&htim1, TIM_CHANNEL_2);
  HAL_TIM_PWM_Start(&htim1, TIM_CHANNEL_3);
  HAL_TIMEx_PWMN_Start(&htim1, TIM_CHANNEL_3);
  __HAL_TIM_MOE_ENABLE(&htim1);

  for(;;)
  {
	if (HAL_GPIO_ReadPin(GPIOC, GPIO_PIN_0) == GPIO_PIN_RESET) {
		start_motor = 0;
	}
	osDelay(100);
  }
}
/* USER CODE END Header_StartStateTask */

/* USER CODE BEGIN Header_StartTelemetryTask */
void StartTelemetryTask(void *argument)
{
  char usb_buffer[128];

  for(;;) {
	  // format CSV message for telemetry
	  int len = snprintf(usb_buffer, sizeof(usb_buffer),
			  	  	  	     "Vel_Target: %.2f, Vel_Actual: %.2f, Iq_Target: %.2f, Iq_Actual: %.2f\r\n",
						           target_vel_rads, current_vel_rads, target_iq, i_q);

	  CDC_Transmit_FS((uint8_t*)usb_buffer, len);

	  // 50Hz telemetry
	  osDelay(30);
  }
}
/* USER CODE END Header_StartTelemetryTask */

void HAL_TIM_PeriodElapsedCallback(TIM_HandleTypeDef *htim)
{
  if (htim->Instance == TIM6)
  {
    HAL_IncTick();
  }
}

void Error_Handler(void)
{
  __disable_irq();
  while (1)
  {
  }
}
